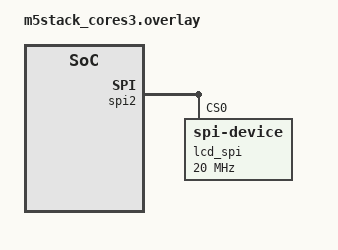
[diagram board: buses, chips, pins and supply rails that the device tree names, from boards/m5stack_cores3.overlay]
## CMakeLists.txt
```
cmake_minimum_required(VERSION 3.20.0)

set(DTC_OVERLAY_FILE boards/m5stack_cores3.overlay)

find_package(Zephyr REQUIRED HINTS $ENV{ZEPHYR_BASE})
project(m5stack_cores3_spi_lcd_raw)

zephyr_include_directories(${ZEPHYR_BASE}/drivers)

target_sources(app PRIVATE src/main.c)
target_include_directories(app PRIVATE ${ZEPHYR_BASE} ${ZEPHYR_BASE}/drivers)
```

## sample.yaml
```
sample:
  description: Raw SPI access to the CoreS3 LCD using 3-wire mode
  name: m5stack_cores3_spi_lcd_raw

common:
  tags:
    - display
    - spi

tests:
  sample.boards.espressif.m5stack_cores3_spi_lcd_raw:
    build_only: true
    platform_allow:
      - m5stack_cores3/esp32s3/procpu
```

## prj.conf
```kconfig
CONFIG_LOG=y
CONFIG_LOG_DEFAULT_LEVEL=3
CONFIG_MAIN_STACK_SIZE=4096
CONFIG_SPI=y
```

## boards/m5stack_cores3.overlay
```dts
&spi2 {
	status = "okay";
	half-duplex;
	sio;

        lcd_spi: display@0 {
                compatible = "zephyr,spi-device";
                reg = <0>;
                spi-max-frequency = <20000000>;
                spi-interframe-delay-ns = <0>;
                status = "okay";
        };
};

&sd0 {
	status = "disabled";
};
```

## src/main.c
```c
/*
* SPDX-License-Identifier: Apache-2.0
*/

#include <zephyr/kernel.h>
#include <zephyr/device.h>
#include <zephyr/devicetree.h>
#include <zephyr/drivers/gpio.h>
#include <zephyr/drivers/spi.h>
#include <zephyr/logging/log.h>
#include <zephyr/sys/util.h>

LOG_MODULE_REGISTER(spi_lcd_raw, CONFIG_LOG_DEFAULT_LEVEL);

#define LCD_NODE DT_NODELABEL(lcd_spi)
#define LCD_BUS_NODE DT_NODELABEL(spi2)

BUILD_ASSERT(DT_NODE_HAS_STATUS(LCD_NODE, okay),
"LCD SPI device not defined in the device tree");

static struct spi_cs_control lcd_cs_control = {
        .gpio = GPIO_DT_SPEC_GET_BY_IDX(LCD_BUS_NODE, cs_gpios, 0),
        .delay = 0U,
        .cs_is_gpio = true,
};

static const struct spi_dt_spec lcd_spi = {
        .bus = DEVICE_DT_GET(LCD_BUS_NODE),
        .config = {
                .frequency = 20000000U,
                .operation = SPI_OP_MODE_MASTER | SPI_WORD_SET(9) |
                             SPI_TRANSFER_MSB | SPI_HALF_DUPLEX |
                             SPI_HOLD_ON_CS,
                .slave = DT_REG_ADDR(LCD_NODE),
                .cs = &lcd_cs_control,
                .word_delay = 0U,
        },
};

#define LCD_WIDTH  320U
#define LCD_HEIGHT 240U

#define ILI9XXX_SWRESET 0x01
#define ILI9XXX_SLPOUT  0x11
#define ILI9XXX_DISPON  0x29
#define ILI9XXX_CASET   0x2A
#define ILI9XXX_PASET   0x2B
#define ILI9XXX_RAMWR   0x2C
#define ILI9XXX_MADCTL  0x36
#define ILI9XXX_PIXSET  0x3A
#define ILI9XXX_INVON   0x21

#define ILI9XXX_MADCTL_BGR BIT(3)
#define ILI9XXX_PIXSET_16BIT 0x55

static int lcd_write_words(uint8_t dc, const uint8_t *data, size_t len)
{
	uint8_t buffer[64];
	size_t buffered = 0U;
	uint8_t current_byte = 0U;
	uint8_t bits_filled = 0U;

	while (len > 0U) {
		uint16_t word = (uint16_t)((dc & 0x1U) << 8) | *data++;

		for (int bit = 8; bit >= 0; --bit) {
			current_byte = (uint8_t)((current_byte << 1) |
				      ((word >> bit) & 0x1U));
			bits_filled++;

			if (bits_filled == 8U) {
				buffer[buffered++] = current_byte;
				current_byte = 0U;
				bits_filled = 0U;

				if (buffered == sizeof(buffer)) {
					struct spi_buf tx_buf = {
						.buf = buffer,
						.len = buffered,
					};
					struct spi_buf_set tx_set = {
						.buffers = &tx_buf,
						.count = 1,
					};

					int ret = spi_write_dt(&lcd_spi, &tx_set);
					if (ret < 0) {
						return ret;
					}

					buffered = 0U;
				}
			}
		}

		len--;
	}

	if (bits_filled > 0U) {
		current_byte <<= (8U - bits_filled);
		buffer[buffered++] = current_byte;
	}

	if (buffered > 0U) {
		struct spi_buf tx_buf = {
			.buf = buffer,
			.len = buffered,
		};
		struct spi_buf_set tx_set = {
			.buffers = &tx_buf,
			.count = 1,
		};

		int ret = spi_write_dt(&lcd_spi, &tx_set);
		if (ret < 0) {
			return ret;
		}
	}

	return 0;
}

static int lcd_send_command(uint8_t cmd)
{
	int ret = lcd_write_words(0U, &cmd, 1U);
	int release_ret = spi_release_dt(&lcd_spi);

	if (ret == 0 && release_ret < 0) {
		ret = release_ret;
	}

	return ret;
}

static int lcd_send_command_with_data(uint8_t cmd, const uint8_t *data, size_t len)
{
	int ret = lcd_write_words(0U, &cmd, 1U);

	if (ret < 0) {
		(void)spi_release_dt(&lcd_spi);
		return ret;
	}

	if (len > 0U) {
		ret = lcd_write_words(1U, data, len);
	}

	int release_ret = spi_release_dt(&lcd_spi);

	if (ret == 0 && release_ret < 0) {
		ret = release_ret;
	}

	return ret;
}

static int lcd_set_address_window(uint16_t x0, uint16_t y0,
uint16_t x1, uint16_t y1)
{
	uint8_t column_range[] = {
		(uint8_t)(x0 >> 8),
		(uint8_t)(x0 & 0xFF),
		(uint8_t)(x1 >> 8),
		(uint8_t)(x1 & 0xFF),
	};
	uint8_t row_range[] = {
		(uint8_t)(y0 >> 8),
		(uint8_t)(y0 & 0xFF),
		(uint8_t)(y1 >> 8),
		(uint8_t)(y1 & 0xFF),
	};
	int ret;

	ret = lcd_send_command_with_data(ILI9XXX_CASET, column_range,
	sizeof(column_range));
	if (ret < 0) {
		return ret;
	}

	ret = lcd_send_command_with_data(ILI9XXX_PASET, row_range,
	sizeof(row_range));

	return ret;
}

static uint16_t gradient_color(uint16_t x, uint16_t y)
{
	uint16_t r = (x * 31U) / (LCD_WIDTH - 1U);
	uint16_t g = (y * 63U) / (LCD_HEIGHT - 1U);
	uint16_t b = ((x + y) * 31U) / ((LCD_WIDTH - 1U) + (LCD_HEIGHT - 1U));

	return (uint16_t)((r << 11) | (g << 5) | b);
}

static int lcd_fill_gradient(void)
{
	uint8_t command = ILI9XXX_RAMWR;
	uint8_t line_buffer[64];
	const size_t pixels_per_chunk = sizeof(line_buffer) / 2U;
	int ret = lcd_write_words(0U, &command, 1U);

	if (ret < 0) {
		(void)spi_release_dt(&lcd_spi);
		return ret;
	}

	for (uint16_t y = 0U; y < LCD_HEIGHT && ret == 0; ++y) {
		for (uint16_t x = 0U; x < LCD_WIDTH; x += pixels_per_chunk) {
			size_t pixels = MIN((size_t)(LCD_WIDTH - x), pixels_per_chunk);

			for (size_t i = 0U; i < pixels; ++i) {
				uint16_t color = gradient_color(x + i, y);

				line_buffer[2U * i] = (uint8_t)(color >> 8);
				line_buffer[(2U * i) + 1U] = (uint8_t)(color & 0xFF);
			}

			ret = lcd_write_words(1U, line_buffer, pixels * 2U);
			if (ret < 0) {
				break;
			}
		}
	}

	int release_ret = spi_release_dt(&lcd_spi);

	if (ret == 0 && release_ret < 0) {
		ret = release_ret;
	}

	return ret;
}

void main(void)
{
	if (!spi_is_ready_dt(&lcd_spi)) {
		LOG_ERR("SPI device not ready");
		return;
	}

	LOG_INF("Resetting LCD");
	if (lcd_send_command(ILI9XXX_SWRESET) < 0) {
		LOG_ERR("Failed to reset LCD");
		return;
	}

	k_msleep(120);

	if (lcd_send_command(ILI9XXX_SLPOUT) < 0) {
		LOG_ERR("Failed to exit sleep mode");
		return;
	}

	k_msleep(120);

	uint8_t pixel_format = ILI9XXX_PIXSET_16BIT;
	if (lcd_send_command_with_data(ILI9XXX_PIXSET, &pixel_format, 1U) < 0) {
		LOG_ERR("Failed to set pixel format");
		return;
	}

	uint8_t madctl = ILI9XXX_MADCTL_BGR;
	if (lcd_send_command_with_data(ILI9XXX_MADCTL, &madctl, 1U) < 0) {
		LOG_ERR("Failed to set MADCTL");
		return;
	}

	if (lcd_send_command(ILI9XXX_INVON) < 0) {
		LOG_WRN("Display inversion command failed");
	}

	if (lcd_set_address_window(0U, 0U, LCD_WIDTH - 1U, LCD_HEIGHT - 1U) < 0) {
		LOG_ERR("Failed to set display area");
		return;
	}

	if (lcd_send_command(ILI9XXX_DISPON) < 0) {
		LOG_ERR("Failed to turn display on");
		return;
	}

	k_msleep(20);

	LOG_INF("Drawing gradient");

	if (lcd_fill_gradient() < 0) {
		LOG_ERR("Failed to draw gradient");
		return;
	}

	LOG_INF("Gradient complete");
}
```
